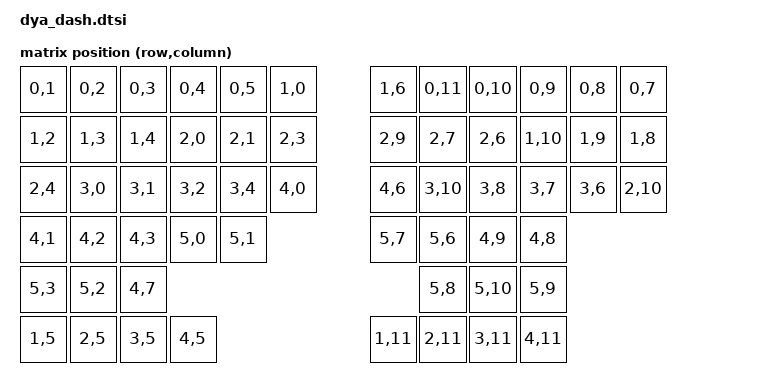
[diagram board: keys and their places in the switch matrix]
#include <dt-bindings/zmk/matrix_transform.h>
#include <dt-bindings/input/input-event-codes.h>
#include <behaviors/animation_trigger.dtsi>
#include "dya_dash-layouts.dtsi"
#include <dt-bindings/led/led.h>
#include <dt-bindings/zmk_driver_animation/animation_control.h>
#include <dt-bindings/zmk_driver_animation/animation_trigger.h>
#include <input/processors.dtsi>
#include <behaviors/default_layer.dtsi>
#include "dya_dash_layer.dtsi"
#include <zmk_driver_animation/animation.dtsi>
#include <zmk_driver_animation/animation_layer_status.dtsi>

/ {
    chosen {
        zmk,physical-layout = &default_layout;
        zmk,battery = &vbatt;
        zmk,animation = &root_animation;
        zmk,animation-control = &root_animation;
    };

    root_animation:animation_0 {
        compatible = "zmk,animation-control";
        label = "ANIMATION_CTRL_0";
        powered-animations = <&endpoint_status &rainbow_animation>;
        battery-animations = <&empty_animation>;
        behavior-animations = <&battery_status &endpoint_status &animation_layer_status>;
        init-animation = <&init_animation>;
        activation-animation = <&battery_status>;
        activation-animation-duration-ms = <1000>;
        ext-power = <&led_power>;
    };

    init_animation:init_animation {
        compatible = "zmk,animation-compose";
        animations = <&battery_status &black_animation &endpoint_status>;
        durations-ms = <1000 200 1000>;
    };
    black_animation:black_animation {
        compatible = "zmk,animation-solid";
        pixels = <0 1 2 3>;
        colors = <HSL(0, 0, 0)>;
    };

    empty_animation:empty_animation {
        compatible = "zmk,animation-empty";
        status = "okay";
    };
    rainbow_animation:rainbow_animation {
        compatible = "zmk,animation-solid";
        status = "okay";
        pixels = <0 1 2 3>;
        colors = <HSL(0, 100, 50) HSL(60, 100, 50) HSL(120, 100, 50) HSL(180, 100, 50) HSL(240, 100, 50) HSL(300, 100, 50)>;
    };
    red_animation:red_animation {
        compatible = "zmk,animation-solid";
        status = "okay";
        pixels = <0 1 2 3>;
        colors = <HSL(0, 100, 50)>;
    };
    endpoint_status:endpoint_status {
        compatible = "zmk,animation-endpoint";
        status = "okay";
        pixels = <0 1 2 3>;
        color-open = <HSL(60, 100, 50)>;
        color-connected = <HSL(240, 100, 50)>;
        color-disconnected = <HSL(0, 100, 50)>;
        color-usb = <HSL(120, 100, 25)>;
    };
    battery_status:battery_status {
        compatible = "zmk,animation-battery-status";
        status = "okay";
        pixels = <0 1 2 3>;
        color-high = <HSL(120, 100, 50)>; // green
        color-middle = <HSL(60, 100, 50)>; // yellow
        color-low = <HSL(0, 100, 50)>; // red
    };

    animation: animation {
        compatible = "zmk,animation";
        drivers = <&led_strip>;
        pixels = <&pixel 0 0>,
            <&pixel 1 0>,
            <&pixel 2 0>,
            <&pixel 3 0>;
        chain-lengths = <4>;
    };

    default_transform: keymap_transform_0 {
        compatible = "zmk,matrix-transform";
        columns = <12>;
        rows = <6>;
        map = <
        // SW1, SW2, SW3, SW4, SW5, SW6,                               SW6, SW5, SW4, SW3, SW2, SW1,
        // 0 1 2 3 4 5                                                 6 7 8 9 10 11
        RC(0, 1) RC(0, 2) RC(0, 3) RC(0, 4) RC(0, 5) RC(1, 0)          RC(1, 6) RC(0, 11) RC(0, 10) RC(0, 9) RC(0, 8) RC(0, 7)
        // SW7, SW8, SW9, SW10, SW11, SW12,                            SW12, SW11, SW10, SW9, SW8, SW7,
        // 12 13 14 15 16 17                                           18 19 20 21 22 23
        RC(1, 2) RC(1, 3) RC(1, 4) RC(2, 0) RC(2, 1) RC(2, 3)          RC(2, 9) RC(2, 7) RC(2, 6) RC(1, 10) RC(1, 9) RC(1, 8)
        // SW13, SW14, SW15, SW16, SW17, SW18,                         SW18, SW17, SW16, SW15, SW14, SW13,
        // 24 25 26 27 28 29 30                                        31 32 33 34 35 36
        RC(2, 4) RC(3, 0) RC(3, 1) RC(3, 2) RC(3, 4) RC(4, 0)          RC(4, 6) RC(3, 10) RC(3, 8) RC(3, 7) RC(3, 6) RC(2, 10)
        // SW19, SW20, SW21, SW22, SW23                                SW23, SW22, SW21, SW20, // 21, 20 can be missing if trackball enabled
        // 37 38 39 40 41                                              42 43 44 45
        RC(4, 1) RC(4, 2) RC(4, 3) RC(5, 0) RC(5, 1)                   RC(5, 7) RC(5, 6) RC(4, 9) RC(4, 8)
        // SW24 for bluetooth, SW25 for USB                            // 4 arrow keys left up down right
        // 46 47                                                       48 49 50 51
        RC(5, 3) RC(5, 2)                                              RC(4, 7) RC(5, 8) RC(5, 10) RC(5, 9)
        // TOUCH1, TOUCH2, TOUCH3, TOUCH4                              // TOUCH1 (K) , TOUCH2 (L), TOUCH3 (O), TOUCH4 (sum finger)
        // 52 53 54 55                                                 56 57 58 59
        RC(1, 5) RC(2, 5) RC(3, 5) RC(4, 5)                            RC(1, 11) RC(2, 11) RC(3, 11) RC(4, 11)
        >;
    };

    kscan0: kscan {
        compatible = "zmk,kscan-gpio-charlieplex";
        gpios
        = <&xiao_d 2 (GPIO_ACTIVE_HIGH)>
        , <&xiao_d 3 (GPIO_ACTIVE_HIGH)>
        , <&xiao_d 4 (GPIO_ACTIVE_HIGH)>
        , <&xiao_d 5 (GPIO_ACTIVE_HIGH)>
        , <&xiao_d 6 (GPIO_ACTIVE_HIGH)>
        , <&xiao_d 7 (GPIO_ACTIVE_HIGH)>
        ;
        wakeup-source;
        interrupt-gpios = <&xiao_d 1 (GPIO_ACTIVE_HIGH | GPIO_PULL_DOWN)>;
    };

    trackball_listener {
        compatible = "zmk,input-listener";
        device = <&trackball>;
        input-processors = <&zip_temp_layer TRACKBALL_L 500>;

        scroller {
            layers = <SCROLL_L>;
            input-processors = <&zip_xy_scaler 1 60 &zip_xy_to_scroll_mapper>;
        };
    };

    zip_temp_layer: zip_temp_layer {
        compatible = "zmk,input-processor-temp-layer";
        #input-processor-cells = <2>;
        require-prior-idle-ms = <100>;
        excluded-positions = <19 20 21 22 32 33 41 52 53 54 55 56 57 58 59>;
    };

    vbatt: vbatt {
        compatible = "zmk,battery-voltage-divider";
        io-channels = <&adc 0>;
        power-gpios; // unset
        output-ohms = <470000>;
        full-ohms = <(1000000 + 470000)>;
        // For Ni-Mh 1U
        mv-to-pct-thresholds = <1100 1150 1200 1220 1240 1260 1280 1300 1320 1350 1400>;
    };

    led_power:led_power {
        compatible = "zmk,ext-power-transient";
        control-gpios = <&gpio0 9 (GPIO_ACTIVE_LOW)>; // NFC1
    };
};

&adc {
    status = "okay";
};

&pinctrl {
    spi3_default: spi3_default {
        group1 {
            psels = <NRF_PSEL(SPIM_MOSI, 0, 10)>; // NFC2
        };
    };

    spi3_sleep: spi3_sleep {
        group1 {
            psels = <NRF_PSEL(SPIM_MOSI, 0, 10)>;
            low-power-enable;
        };
    };
};

&spi3 {
    compatible = "nordic,nrf-spim";
    status = "okay";

    pinctrl-0 = <&spi3_default>;
    pinctrl-1 = <&spi3_sleep>;
    pinctrl-names = "default", "sleep";

    led_strip: ws2812@0 {
        compatible = "worldsemi,ws2812-spi";

        /* SPI */
        reg = <0>; /* ignored, but necessary for SPI bindings */
        spi-max-frequency = <4000000>;

        /* WS2812 */
        chain-length = <4>; /* number of LEDs */
        spi-one-frame = <0x70>;
        spi-zero-frame = <0x40>;
        color-mapping = <LED_COLOR_ID_GREEN
                         LED_COLOR_ID_RED
                         LED_COLOR_ID_BLUE>;
    };
};

&animation_layer_status {
    pixels = <0 1 2 3>;
    default-color = <HSL(240, 100, 50)>;
    // default
    // windows blue
    // mac red
    // ios white
    // linux orange
    colors = <
        0
        HSL(193, 100, 47)
        HSL(0, 100, 40)
        HSL(0, 100, 100)
        HSL(29, 88, 51)
    >;
};
